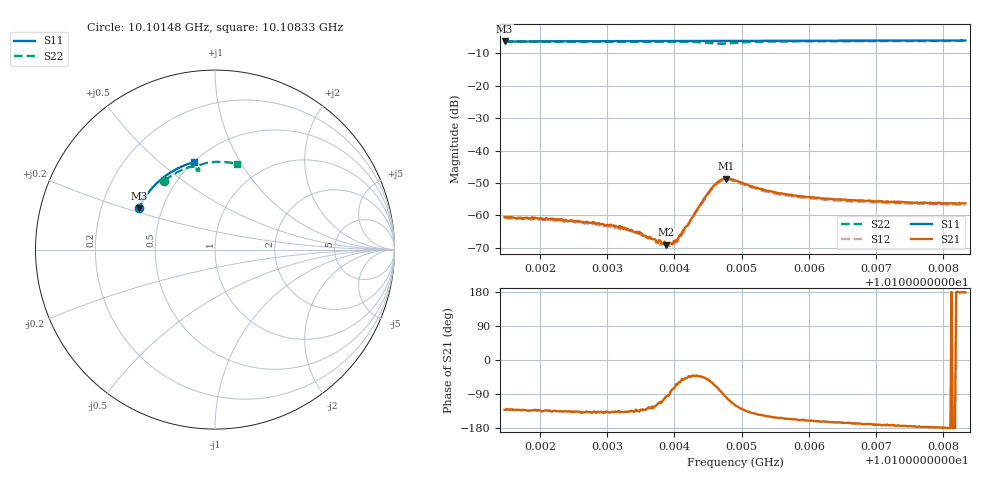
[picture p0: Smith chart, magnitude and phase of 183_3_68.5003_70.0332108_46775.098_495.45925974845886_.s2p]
#  HZ  S  RI  R  50.00
! Rohde & Schwarz Vector Network Analyzer
! Rohde-Schwarz,ZNB20-2Port,1311601062101988,3.16
! Created: UTC 3/20/2024, 4:56:48 PM
! freq[Hz]  re:S11  im:S11  re:S21  im:S21  re:S12  im:S12  re:S22  im:S22
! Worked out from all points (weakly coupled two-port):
!   401 points, 10.10148 GHz to 10.10833 GHz, reference 50 ohm
!   highest |S21| = -48.64 dB at 10.10477 GHz (marker M1); lowest = -69.0 dB at 10.10387 GHz (marker M2)
!   lowest |S11| = -6.3 dB at 10.10148 GHz (marker M3), VSWR 2.87, Z = 18.4 + j11 ohm
!   |S11| at or under -10 dB: nowhere
!   |S22| runs from -7.0 to -6.1 dB; largest |S21 - S12| = 0.00036
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1.0101476e10  -0.4252 0.2299  -0.000622 -0.000707  -0.000546 -0.000741  -0.2821 0.3834
1.0102178e10  -0.4052 0.2678  -0.000644 -0.000627  -0.000555 -0.000631  -0.2452 0.4106
1.0102624e10  -0.3908 0.2909  -0.000614 -0.000514  -0.000507 -0.000573  -0.2203 0.4257
1.0102795e10  -0.3848 0.2995  -0.000576 -0.000552  -0.000507 -0.000556  -0.2104 0.4312
1.0103292e10  -0.3667 0.3235  -0.000448 -0.000421  -0.0004 -0.000444  -0.1802 0.4457
1.0103463e10  -0.3602 0.3316  -0.00036 -0.000378  -0.000334 -0.00042  -0.1692 0.4501
1.0103772e10  -0.3479 0.3457  -0.000166 -0.000385  -0.000139 -0.000345  -0.1487 0.4573
1.0103874e10  -0.3436 0.3503  -4.45e-05 -0.000352  -2.14e-05 -0.00037  -0.1412 0.4592
1.010396e10  -0.3401 0.3541  7.12e-05 -0.000357  9.12e-05 -0.000348  -0.1348 0.4607
1.0104046e10  -0.3366 0.3579  0.000177 -0.000375  0.000197 -0.00034  -0.1282 0.4617
1.0104097e10  -0.3343 0.36  0.000274 -0.000408  0.000325 -0.000353  -0.124 0.4623
1.0104217e10  -0.3291 0.3652  0.000565 -0.000511  0.00059 -0.000457  -0.1137 0.4625
1.0104388e10  -0.3217 0.3724  0.00107 -0.00101  0.00112 -0.000873  -0.0986 0.4591
1.0104559e10  -0.3139 0.3794  0.00137 -0.00229  0.00146 -0.00207  -0.0878 0.447
1.0104662e10  -0.3093 0.3835  0.000747 -0.0033  0.000959 -0.00307  -0.0905 0.4386
1.0104765e10  -0.3047 0.3874  -0.000498 -0.00367  -0.00018 -0.00355  -0.0986 0.4383
1.0104902e10  -0.2985 0.3928  -0.00169 -0.00302  -0.00138 -0.00307  -0.1023 0.4496
1.0105347e10  -0.2773 0.4096  -0.00208 -0.00132  -0.00185 -0.00144  -0.0749 0.4748
1.0105656e10  -0.2621 0.4205  -0.00191 -0.000881  -0.00174 -0.00105  -0.0529 0.4814
1.010605e10  -0.2418 0.4334  -0.00178 -0.000653  -0.00167 -0.000741  -0.0258 0.4861
1.0107198e10  -0.1802 0.4651  -0.0016 -0.000218  -0.00149 -0.000364  0.0499 0.4879
1.0108328e10  -0.1156 0.4873  -0.00154 4.11e-05  -0.00146 -0.000103  0.1219 0.4779
